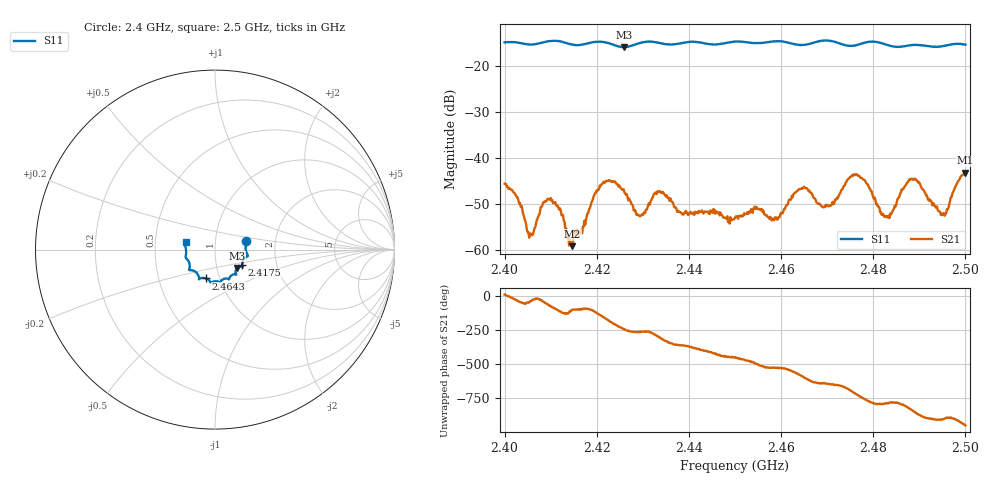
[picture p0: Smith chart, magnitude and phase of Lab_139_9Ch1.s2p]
# Hz S RI R 50
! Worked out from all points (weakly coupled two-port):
!   601 points, 2.4 GHz to 2.5 GHz, reference 50 ohm
!   highest |S21| = -43.19 dB at 2.5 GHz (marker M1); lowest = -59.1 dB at 2.4147 GHz (marker M2)
!   lowest |S11| = -15.9 dB at 2.4258 GHz (marker M3), VSWR 1.38, Z = 62.3 - j13.2 ohm
!   |S11| at or under -10 dB: start of sweep to end of sweep
!   S12 and S22 are empty: the file has one direction only
!   S11 on the Smith chart (normalised r, x): 2.4 GHz: 1.41, +0.14; 2.4175 GHz: 1.33, -0.23; 2.4643 GHz: 0.86, -0.29; 2.5 GHz: 0.72, +0.06
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2.4e9  0.1732 0.0486  0.00521 0.000849  0 0  0 0
2.402833e9  0.1754 0.0362  0.00308 -0.00216  0 0  0 0
2.4055e9  0.1702 0.00856  0.00114 -0.000968  0 0  0 0
2.409833e9  0.1829 -0.0329  0.000938 -0.00342  0 0  0 0
2.414667e9  0.1618 -0.0518  -0.000216 -0.00109  0 0  0 0
2.416667e9  0.1524 -0.0739  -0.000279 -0.00154  0 0  0 0
2.4175e9  0.1514 -0.0835  -0.000111 -0.00189  0 0  0 0
2.4215e9  0.1536 -0.0964  -0.00515 -0.00204  0 0  0 0
2.425833e9  0.1219 -0.103  -0.00208 0.00408  0 0  0 0
2.429167e9  0.1152 -0.1327  -0.000146 0.00238  0 0  0 0
2.433333e9  0.1136 -0.1373  0.00203 0.00383  0 0  0 0
2.438333e9  0.0808 -0.1561  0.00253 -0.000112  0 0  0 0
2.45e9  0.0282 -0.1814  -0.000162 -0.00224  0 0  0 0
2.458833e9  -0.0225 -0.1838  -0.00217 -0.000527  0 0  0 0
2.464333e9  -0.05 -0.1608  -0.00327 0.00328  0 0  0 0
2.466667e9  -0.0763 -0.1587  -0.000111 0.00415  0 0  0 0
2.4705e9  -0.0886 -0.1651  0.000907 0.00294  0 0  0 0
2.4765e9  -0.1216 -0.1167  0.0066 -0.00055  0 0  0 0
2.483333e9  -0.1408 -0.0896  0.00091 -0.00219  0 0  0 0
2.488667e9  -0.1622 -0.046  -0.0032 -0.00484  0 0  0 0
2.495333e9  -0.164 0.0139  -0.00253 9.2e-05  0 0  0 0
2.5e9  -0.1642 0.0434  -0.00445 0.0053  0 0  0 0
